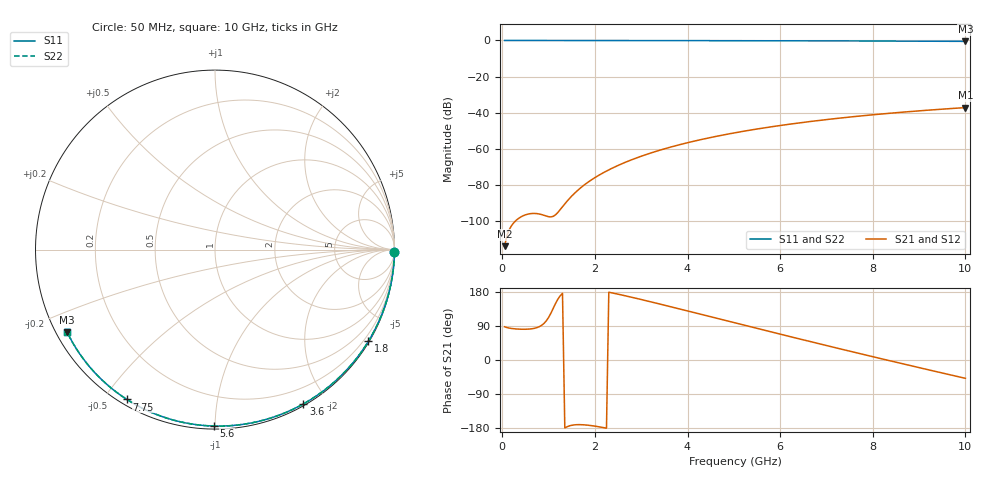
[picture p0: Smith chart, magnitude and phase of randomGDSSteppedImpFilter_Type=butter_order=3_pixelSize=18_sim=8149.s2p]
! freq	dB(S11)	phase(S11)	dB(S12)	phase(S12)
!  dB(S21)	phase(S21)	dB(S22)	phase(S22)
!S-par simulation data
#  GHz  S  DB  R 50
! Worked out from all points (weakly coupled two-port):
!   200 points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, 50 MHz to 10 GHz, reference 50 ohm
!   highest |S21| = -37.11 dB at 10 GHz (marker M1); lowest = -113.7 dB at 50 MHz (marker M2)
!   lowest |S11| = -0.5 dB at 10 GHz (marker M3), VSWR 34.41, Z = 1.55 - j13 ohm
!   |S11| at or under -10 dB: nowhere
!   |S22| runs from -0.5 to 0.0 dB; largest |S21 - S12| = 0
!   S11 on the Smith chart (normalised r, x): 50 MHz: open; 1.8 GHz: 0.03, -3.62; 3.6 GHz: 0.02, -1.72; 5.6 GHz: 0.02, -0.99; 7.75 GHz: 0.02, -0.57; 10 GHz: 0.03, -0.26
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0.05  -0.00 -0.9  -113.67 87.7  -113.67 87.7  -0.00 -0.9
0.45  -0.01 -7.8  -96.87 81.1  -96.87 81.1  -0.01 -7.8
0.9  -0.02 -15.6  -96.62 96.6  -96.62 96.6  -0.02 -15.6
1.3  -0.03 -22.4  -91.89 175.9  -91.89 175.9  -0.03 -22.4
1.75  -0.04 -30.0  -80.24 -171.0  -80.24 -171.0  -0.04 -30.0
1.8  -0.04 -30.9  -79.26 -171.4  -79.26 -171.4  -0.04 -30.9
1.95  -0.04 -33.4  -76.61 -173.6  -76.61 -173.6  -0.04 -33.4
2.1  -0.05 -35.9  -74.27 -176.5  -74.27 -176.5  -0.05 -35.9
2.3  -0.05 -39.2  -71.50 178.9  -71.50 178.9  -0.05 -39.2
2.5  -0.05 -42.5  -69.06 173.7  -69.06 173.7  -0.05 -42.5
2.9  -0.06 -49.0  -64.89 162.5  -64.89 162.5  -0.06 -49.0
3.4  -0.08 -57.1  -60.64 147.7  -60.64 147.7  -0.08 -57.1
3.6  -0.08 -60.2  -59.16 141.7  -59.16 141.7  -0.08 -60.2
4.3  -0.10 -71.1  -54.72 120.3  -54.72 120.3  -0.10 -71.1
5.05  -0.13 -82.4  -50.89 97.2  -50.89 97.2  -0.13 -82.4
5.6  -0.15 -90.4  -48.52 80.4  -48.52 80.4  -0.15 -90.4
6.15  -0.17 -98.3  -46.46 63.7  -46.46 63.7  -0.17 -98.3
6.7  -0.21 -106.0  -44.63 47.1  -44.63 47.1  -0.21 -106.0
7.75  -0.28 -120.4  -41.68 16.0  -41.68 16.0  -0.28 -120.4
8.35  -0.33 -128.5  -40.26 -1.5  -40.26 -1.5  -0.33 -128.5
9.2  -0.41 -140.0  -38.50 -25.8  -38.50 -25.8  -0.41 -140.0
10  -0.50 -150.9  -37.11 -48.4  -37.11 -48.4  -0.50 -150.9
